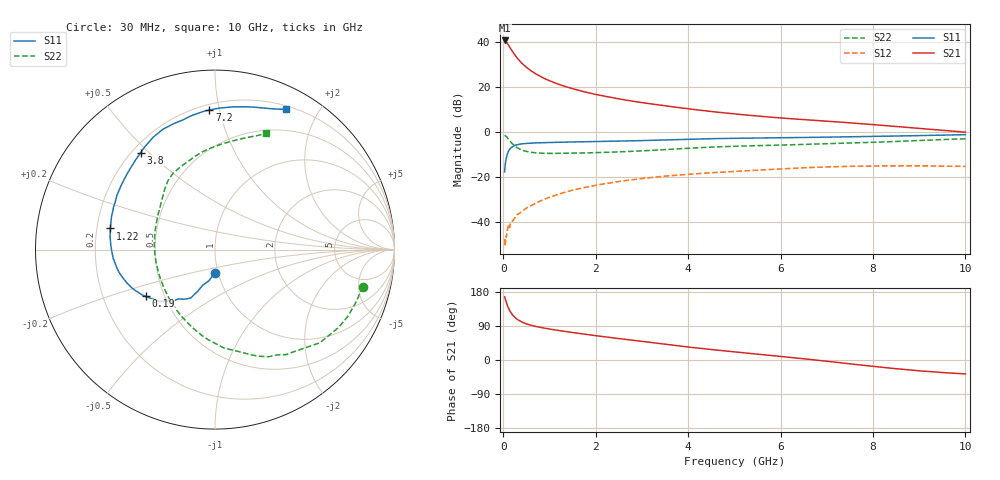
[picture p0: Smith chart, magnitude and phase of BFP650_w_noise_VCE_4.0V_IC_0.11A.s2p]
! Infineon Technologies  Discrete & RF Semiconductors
! BFP650
! VCE =  4.0 V,  IC = 0.11 A
! Common Emitter S-Parameters:  Jan 2016
# GHz  S  MA  R  50
!  f  S11  S21  S12  S22
! GHz  MAG  ANG  MAG  ANG  MAG  ANG  MAG  ANG
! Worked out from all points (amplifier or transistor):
!   229 points, 30 MHz to 10 GHz, reference 50 ohm
!   highest |S21| = 40.8 dB at 30 MHz (marker M1)
!   |S21| within 3 dB of that: start of sweep to 140.5 MHz
!   unconditionally stable (mu >= 1): 1.137 GHz to end of sweep
!   at 280 MHz: K = 0.68, MSG = 35.4 dB, |S12| = -37.3 dB
!   at 1.78 GHz: K = 1.03, MAG = 20.2 dB, |S12| = -24.5 dB
!   at 10 GHz: K = 1.02, MAG = 6.7 dB, |S12| = -15.2 dB
!   lowest NFmin = 1.51 dB at 450 MHz
!   S11 on the Smith chart (normalised r, x): 30 MHz: 0.96, -0.26; 190 MHz: 0.39, -0.26; 1.22 GHz: 0.26, +0.09; 3.8 GHz: 0.23, +0.47; 7.2 GHz: 0.24, +0.93; 10 GHz: 0.24, +1.61
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0.03  0.1307 -91.1  109.4 166.9  0.0042 92.4  0.8487 -14.1
0.04  0.1764 -101.0  108.3 162.4  0.0029 70.3  0.8386 -20.4
0.06  0.2499 -112.4  103.7 154.6  0.0048 54.4  0.8142 -32.1
0.08  0.3016 -116.6  97.26 147.1  0.0062 92.0  0.7817 -41.6
0.1  0.3424 -126.7  90.69 140.7  0.0072 52.2  0.7259 -50.6
0.145  0.4244 -137.4  76.1 129.2  0.0082 60.8  0.6369 -68.3
0.19  0.4661 -146.0  64.34 121.0  0.0102 57.6  0.561 -81.8
0.24  0.4994 -152.9  54.1 113.8  0.0118 61.1  0.5033 -94.3
0.3  0.5242 -159.1  44.75 107.4  0.0146 60.2  0.4509 -106.6
0.36  0.5396 -163.8  37.99 102.9  0.0158 63.5  0.4171 -116.2
0.45  0.5556 -169.0  30.75 97.6  0.0188 63.7  0.3843 -128.1
0.6  0.5699 -175.4  23.18 91.6  0.023 64.2  0.3558 -142.8
0.8  0.5801 178.3  17.37 86.0  0.0292 63.8  0.3409 -156.8
1.22  0.595 168.6  11.38 77.5  0.0423 62.7  0.3358 -175.7
1.7  0.6083 159.5  8.146 69.2  0.0567 57.9  0.3426 170.2
3.4  0.662 133.1  3.969 43.2  0.1024 39.6  0.4021 137.8
3.8  0.6807 127.5  3.506 37.4  0.111 34.9  0.4251 132.4
5.1  0.7312 112.6  2.481 20.3  0.1354 21.6  0.4876 117.5
6.8  0.7664 96.7  1.812 -0.6  0.1652 4.0  0.5422 99.1
7.2  0.7782 92.3  1.696 -6.0  0.17 -0.6  0.5559 95.2
8.4  0.8155 77.3  1.359 -21.8  0.1771 -14.0  0.6128 80.9
10  0.8774 63.0  0.997 -36.7  0.1729 -27.0  0.7096 66.3
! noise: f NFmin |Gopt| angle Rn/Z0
0.45  1.51  0.58  -171  0.06
0.9  1.53  0.59  -164  0.07
1.9  1.69  0.61  -149  0.1
2.4  1.78  0.59  -141  0.14
3.5  1.97  0.6  -118  0.26
